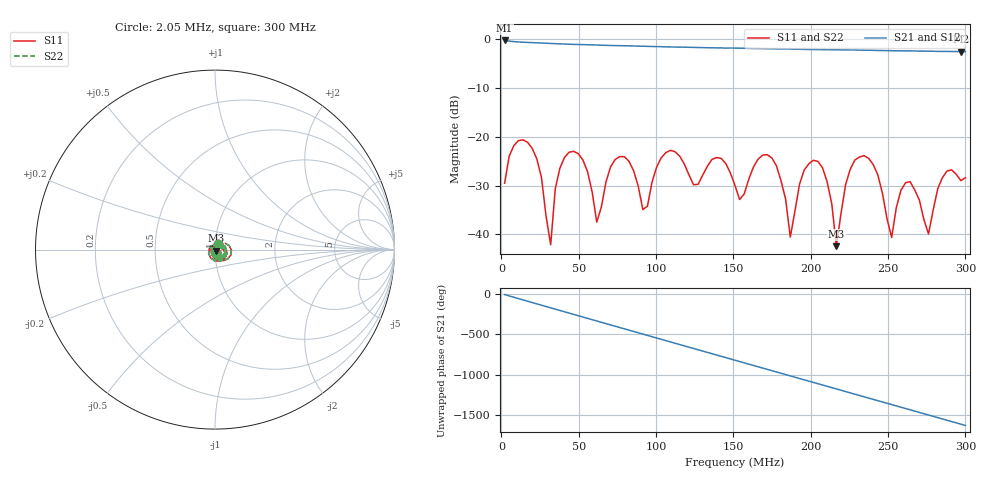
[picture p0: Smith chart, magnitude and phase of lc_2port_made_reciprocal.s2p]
# Hz S RI R 50
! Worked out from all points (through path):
!   101 points, 2.05 MHz to 300 MHz, reference 50 ohm
!   highest |S21| = -0.23 dB at 2.05 MHz (marker M1); lowest = -2.5 dB at 297 MHz (marker M2)
!   group delay of S21, straight-line fit = 15 ns
!   lowest |S11| = -42.4 dB at 216.6 MHz (marker M3), VSWR 1.02, Z = 50.5 - j0.55 ohm
!   |S11| at or under -10 dB: start of sweep to end of sweep
!   |S22| runs from -42.4 to -20.6 dB; largest |S21 - S12| = 0
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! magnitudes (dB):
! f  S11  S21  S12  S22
! 2.05 MHz  -29.5  -0.2  -0.2  -29.5
! 19.93 MHz  -22.4  -0.7  -0.7  -22.4
! 31.84 MHz  -42.1  -0.8  -0.8  -42.1
! 37.8 MHz  -26.4  -0.9  -0.9  -26.4
! 52.7 MHz  -24.8  -1.1  -1.1  -24.8
! 61.64 MHz  -37.5  -1.2  -1.2  -37.5
! 73.56 MHz  -24.6  -1.3  -1.3  -24.6
! 91.44 MHz  -34.9  -1.4  -1.4  -34.9
! 103.4 MHz  -24.3  -1.5  -1.5  -24.3
! 151 MHz  -30.0  -1.8  -1.8  -30.0
! 174.9 MHz  -24.3  -1.9  -1.9  -24.3
! 186.8 MHz  -40.6  -2.0  -2.0  -40.6
! 201.7 MHz  -24.8  -2.1  -2.1  -24.8
! 216.6 MHz  -42.4  -2.1  -2.1  -42.4
! 225.5 MHz  -26.7  -2.2  -2.2  -26.7
! 234.5 MHz  -23.8  -2.2  -2.2  -23.8
! 252.3 MHz  -40.6  -2.3  -2.3  -40.6
! 261.3 MHz  -29.4  -2.4  -2.4  -29.4
! 276.2 MHz  -39.9  -2.4  -2.4  -39.9
! 285.1 MHz  -28.4  -2.5  -2.5  -28.4
! 297 MHz  -29.0  -2.5  -2.5  -29.0
! 300 MHz  -28.4  -2.5  -2.5  -28.4
